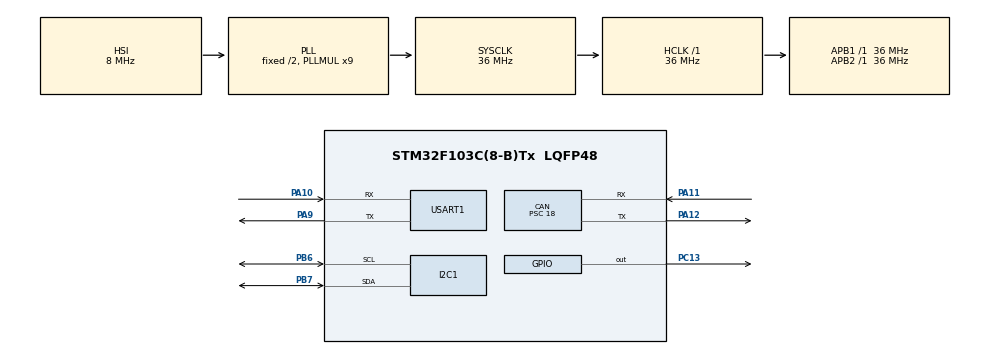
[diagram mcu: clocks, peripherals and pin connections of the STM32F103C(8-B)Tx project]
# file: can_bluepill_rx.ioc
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CAN.BS1=CAN_BS1_10TQ
CAN.BS2=CAN_BS2_5TQ
CAN.CalculateBaudRate=125000
CAN.CalculateTimeBit=8000
CAN.CalculateTimeQuantum=500.0
CAN.Mode=CAN_MODE_NORMAL
CAN.NART=ENABLE
CAN.Prescaler=18
Mcu.Family=STM32F1
Mcu.Name=STM32F103C(8-B)Tx
Mcu.Package=LQFP48
NVIC.PriorityGroup=NVIC_PRIORITYGROUP_4
NVIC.USB_LP_CAN1_RX0_IRQn=true\:0\:0\:false\:false\:true\:true\:true\:true
PA10.Mode=Asynchronous
PA10.Signal=USART1_RX
PA11.Mode=CAN_Activate
PA11.Signal=CAN_RX
PA12.Mode=CAN_Activate
PA12.Signal=CAN_TX
PA9.Mode=Asynchronous
PA9.Signal=USART1_TX
PB6.Mode=I2C
PB6.Signal=I2C1_SCL
PB7.Mode=I2C
PB7.Signal=I2C1_SDA
PC13-TAMPER-RTC.Signal=GPIO_Output
PD0-OSC_IN.Mode=HSE-External-Oscillator
PD0-OSC_IN.Signal=RCC_OSC_IN
PD1-OSC_OUT.Mode=HSE-External-Oscillator
PD1-OSC_OUT.Signal=RCC_OSC_OUT
ProjectManager.HeapSize=0x200
ProjectManager.StackSize=0x400
ProjectManager.TargetToolchain=STM32CubeIDE
RCC.AHBFreq_Value=36000000
RCC.APB1Freq_Value=36000000
RCC.APB1TimFreq_Value=36000000
RCC.APB2Freq_Value=36000000
RCC.APB2TimFreq_Value=36000000
RCC.HCLKFreq_Value=36000000
RCC.PLLMUL=RCC_PLL_MUL9
RCC.SYSCLKFreq_VALUE=36000000
RCC.SYSCLKSource=RCC_SYSCLKSOURCE_PLLCLK
RCC.USBFreq_Value=36000000
USART1.VirtualMode=VM_ASYNC
VP_SYS_VS_ND.Mode=No_Debug
board=custom

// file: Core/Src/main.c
/* USER CODE BEGIN Header */
/**
  ******************************************************************************
  * @file           : main.c
  * @brief          : Main program body
  ******************************************************************************
  * @attention
  *
  * Copyright (c) 2025 STMicroelectronics.
  * All rights reserved.
  *
  * This software is licensed under terms that can be found in the LICENSE file
  * in the root directory of this software component.
  * If no LICENSE file comes with this software, it is provided AS-IS.
  *
  ******************************************************************************
  */
/* USER CODE END Header */
#include "main.h"

/* USER CODE BEGIN Includes */
#include <string.h>
#include <stdio.h>
#include"lcd16x2_i2c.h"
/* USER CODE END Includes */

CAN_HandleTypeDef hcan;

I2C_HandleTypeDef hi2c1;

UART_HandleTypeDef huart1;

void SystemClock_Config(void);
static void MX_GPIO_Init(void);
static void MX_CAN_Init(void);
static void MX_USART1_UART_Init(void);
static void MX_I2C1_Init(void);

/* USER CODE BEGIN 0 */
//CAN_RxHeaderTypeDef RxHeader;
//char RxData[8];
//char log_Buff[64];

void HAL_CAN_RxFifo0MsgPendingCallback(CAN_HandleTypeDef *hcan)
{
    CAN_RxHeaderTypeDef RxHeader;
    uint8_t RxData[8];
    static uint8_t received64[64];
    static int index = 0;

    HAL_CAN_GetRxMessage(hcan, CAN_RX_FIFO0, &RxHeader, RxData);

    // Copy received 8 bytes into buffer
    for (int i = 0; i < RxHeader.DLC; i++)
    {
        received64[index++] = RxData[i];
    }

    // When full 64 bytes received
    if (index >= 64)
    {
        // Process complete data
        index = 0;
#if 1
        HAL_UART_Transmit(&huart1, (uint8_t*)received64, strlen((char*)received64), HAL_MAX_DELAY);
#else
        // display it on I2C LCD
        lcd16x2_i2c_setCursor(0, 0);
        sprintf(log_Buff, "msg id = %ld", RxHeader.StdId);
        lcd16x2_i2c_printf(log_Buff);
        lcd16x2_i2c_setCursor(1, 0);
        sprintf(log_Buff, "msg = %s", RxData);
        lcd16x2_i2c_printf(log_Buff);
#endif
    }
}

/* USER CODE END 0 */

int main(void)
{

  /* MCU Configuration--------------------------------------------------------*/

  /* Reset of all peripherals, Initializes the Flash interface and the Systick. */
  HAL_Init();

  /* Configure the system clock */
  SystemClock_Config();

  /* Initialize all configured peripherals */
  MX_GPIO_Init();
  MX_CAN_Init();
  MX_USART1_UART_Init();
  MX_I2C1_Init();
  /* USER CODE BEGIN 2 */
  //CAN_ConfigAndStart();
  lcd16x2_i2c_init(&hi2c1);
  HAL_CAN_ActivateNotification(&hcan, CAN_IT_RX_FIFO0_MSG_PENDING);
  HAL_CAN_Start(&hcan);
  /* USER CODE END 2 */

  /* Infinite loop */
  /* USER CODE BEGIN WHILE */
  while (1)
  {
	  //HAL_GPIO_TogglePin(GPIOC, GPIO_PIN_13);
	  //HAL_Delay(100);
    /* USER CODE END WHILE */

  }
}

void SystemClock_Config(void)
{
  RCC_OscInitTypeDef RCC_OscInitStruct = {0};
  RCC_ClkInitTypeDef RCC_ClkInitStruct = {0};

  /** Initializes the RCC Oscillators according to the specified parameters
  * in the RCC_OscInitTypeDef structure.
  */
  RCC_OscInitStruct.OscillatorType = RCC_OSCILLATORTYPE_HSI;
  RCC_OscInitStruct.HSIState = RCC_HSI_ON;
  RCC_OscInitStruct.HSICalibrationValue = RCC_HSICALIBRATION_DEFAULT;
  RCC_OscInitStruct.PLL.PLLState = RCC_PLL_ON;
  RCC_OscInitStruct.PLL.PLLSource = RCC_PLLSOURCE_HSI_DIV2;
  RCC_OscInitStruct.PLL.PLLMUL = RCC_PLL_MUL9;
  if (HAL_RCC_OscConfig(&RCC_OscInitStruct) != HAL_OK)
  {
    Error_Handler();
  }

  /** Initializes the CPU, AHB and APB buses clocks
  */
  RCC_ClkInitStruct.ClockType = RCC_CLOCKTYPE_HCLK|RCC_CLOCKTYPE_SYSCLK
                              |RCC_CLOCKTYPE_PCLK1|RCC_CLOCKTYPE_PCLK2;
  RCC_ClkInitStruct.SYSCLKSource = RCC_SYSCLKSOURCE_PLLCLK;
  RCC_ClkInitStruct.AHBCLKDivider = RCC_SYSCLK_DIV1;
  RCC_ClkInitStruct.APB1CLKDivider = RCC_HCLK_DIV1;
  RCC_ClkInitStruct.APB2CLKDivider = RCC_HCLK_DIV1;

  if (HAL_RCC_ClockConfig(&RCC_ClkInitStruct, FLASH_LATENCY_1) != HAL_OK)
  {
    Error_Handler();
  }
}

static void MX_CAN_Init(void)
{

  hcan.Instance = CAN1;
  hcan.Init.Prescaler = 18;
  hcan.Init.Mode = CAN_MODE_NORMAL;
  hcan.Init.SyncJumpWidth = CAN_SJW_1TQ;
  hcan.Init.TimeSeg1 = CAN_BS1_10TQ;
  hcan.Init.TimeSeg2 = CAN_BS2_5TQ;
  hcan.Init.TimeTriggeredMode = DISABLE;
  hcan.Init.AutoBusOff = DISABLE;
  hcan.Init.AutoWakeUp = DISABLE;
  hcan.Init.AutoRetransmission = ENABLE;
  hcan.Init.ReceiveFifoLocked = DISABLE;
  hcan.Init.TransmitFifoPriority = DISABLE;
  if (HAL_CAN_Init(&hcan) != HAL_OK)
  {
    Error_Handler();
  }
  /* USER CODE BEGIN CAN_Init 2 */
  CAN_FilterTypeDef FilterConfig;

  FilterConfig.SlaveStartFilterBank = 9; 				// CAN: 0 to 8
  FilterConfig.FilterActivation = CAN_FILTER_ENABLE;
  FilterConfig.FilterBank = 5; 							// Use any Filter from 0 to 8
  FilterConfig.FilterScale = CAN_FILTERSCALE_32BIT; 	// Use a 32-bit filter
  FilterConfig.FilterMode = CAN_FILTERMODE_IDMASK;
  FilterConfig.FilterMaskIdHigh = 0x0000;
  FilterConfig.FilterMaskIdLow = 0x0000;
  FilterConfig.FilterIdHigh = 0x0000;
  FilterConfig.FilterIdLow = 0x0000;
  FilterConfig.FilterFIFOAssignment = CAN_RX_FIFO0;

  if(HAL_CAN_ConfigFilter(&hcan, &FilterConfig) != HAL_OK)
	  Error_Handler();
  /* USER CODE END CAN_Init 2 */

}

static void MX_I2C1_Init(void)
{

  hi2c1.Instance = I2C1;
  hi2c1.Init.ClockSpeed = 100000;
  hi2c1.Init.DutyCycle = I2C_DUTYCYCLE_2;
  hi2c1.Init.OwnAddress1 = 0;
  hi2c1.Init.AddressingMode = I2C_ADDRESSINGMODE_7BIT;
  hi2c1.Init.DualAddressMode = I2C_DUALADDRESS_DISABLE;
  hi2c1.Init.OwnAddress2 = 0;
  hi2c1.Init.GeneralCallMode = I2C_GENERALCALL_DISABLE;
  hi2c1.Init.NoStretchMode = I2C_NOSTRETCH_DISABLE;
  if (HAL_I2C_Init(&hi2c1) != HAL_OK)
  {
    Error_Handler();
  }

}

static void MX_USART1_UART_Init(void)
{

  huart1.Instance = USART1;
  huart1.Init.BaudRate = 115200;
  huart1.Init.WordLength = UART_WORDLENGTH_8B;
  huart1.Init.StopBits = UART_STOPBITS_1;
  huart1.Init.Parity = UART_PARITY_NONE;
  huart1.Init.Mode = UART_MODE_TX_RX;
  huart1.Init.HwFlowCtl = UART_HWCONTROL_NONE;
  huart1.Init.OverSampling = UART_OVERSAMPLING_16;
  if (HAL_UART_Init(&huart1) != HAL_OK)
  {
    Error_Handler();
  }

}

static void MX_GPIO_Init(void)
{
  GPIO_InitTypeDef GPIO_InitStruct = {0};

  /* GPIO Ports Clock Enable */
  __HAL_RCC_GPIOC_CLK_ENABLE();
  __HAL_RCC_GPIOD_CLK_ENABLE();
  __HAL_RCC_GPIOA_CLK_ENABLE();
  __HAL_RCC_GPIOB_CLK_ENABLE();

  /*Configure GPIO pin Output Level */
  HAL_GPIO_WritePin(GPIOC, GPIO_PIN_13, GPIO_PIN_RESET);

  /*Configure GPIO pin : PC13 */
  GPIO_InitStruct.Pin = GPIO_PIN_13;
  GPIO_InitStruct.Mode = GPIO_MODE_OUTPUT_PP;
  GPIO_InitStruct.Pull = GPIO_NOPULL;
  GPIO_InitStruct.Speed = GPIO_SPEED_FREQ_LOW;
  HAL_GPIO_Init(GPIOC, &GPIO_InitStruct);

}

void Error_Handler(void)
{
  __disable_irq();
  while (1)
  {
  }
}
